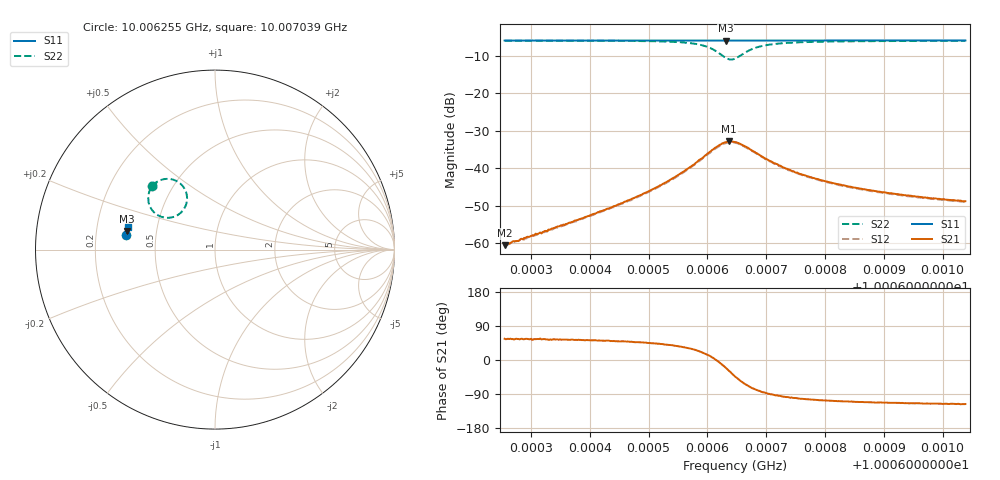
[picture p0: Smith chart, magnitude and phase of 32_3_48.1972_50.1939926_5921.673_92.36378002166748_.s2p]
#  HZ  S  RI  R  50.00
! Rohde & Schwarz Vector Network Analyzer
! Rohde-Schwarz,ZNB20-2Port,1311601062101988,3.16
! Created: UTC 3/20/2024, 11:37:31 AM
! freq[Hz]  re:S11  im:S11  re:S21  im:S21  re:S12  im:S12  re:S22  im:S22
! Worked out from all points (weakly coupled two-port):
!   401 points, 10.006255 GHz to 10.007039 GHz, reference 50 ohm
!   highest |S21| = -32.84 dB at 10.006637 GHz (marker M1); lowest = -60.5 dB at 10.006255 GHz (marker M2)
!   lowest |S11| = -6.0 dB at 10.006631 GHz (marker M3), VSWR 3.00, Z = 16.8 + j4.6 ohm
!   |S11| at or under -10 dB: nowhere
!   |S22| runs from -11.0 to -6.0 dB; largest |S21 - S12| = 0.0015
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1.00062551e10  -0.4959 0.0788  0.000527 0.000784  0.000486 0.000779  -0.3508 0.3557
1.00063864e10  -0.4947 0.0874  0.00131 0.00171  0.0012 0.00174  -0.3357 0.369
1.00064726e10  -0.4937 0.0932  0.00267 0.00293  0.00246 0.00297  -0.3164 0.3815
1.00065176e10  -0.4931 0.0961  0.00423 0.00395  0.00399 0.00406  -0.2968 0.3895
1.00065568e10  -0.4923 0.0989  0.00722 0.00496  0.00679 0.00519  -0.2648 0.3943
1.00065901e10  -0.4915 0.1011  0.0126 0.00473  0.0121 0.00529  -0.2127 0.3813
1.00066097e10  -0.4907 0.1021  0.0178 0.00176  0.0171 0.0026  -0.1713 0.342
1.00066215e10  -0.4903 0.1026  0.0204 -0.00289  0.0198 -0.00168  -0.156 0.2953
1.00066313e10  -0.4898 0.1027  0.0208 -0.00777  0.0205 -0.00653  -0.1627 0.2467
1.00066372e10  -0.4899 0.1026  0.0199 -0.0111  0.0199 -0.00973  -0.1782 0.219
1.00066469e10  -0.49 0.1026  0.0163 -0.0154  0.0167 -0.014  -0.2194 0.1867
1.00066567e10  -0.4904 0.103  0.0118 -0.0172  0.0127 -0.0163  -0.2656 0.177
1.00066705e10  -0.4907 0.1039  0.00646 -0.0172  0.0073 -0.0165  -0.3166 0.1906
1.0006694e10  -0.491 0.1055  0.00123 -0.0141  0.00193 -0.0138  -0.3583 0.2322
1.00067312e10  -0.4909 0.1081  -0.00129 -0.01  -0.000693 -0.00993  -0.3721 0.2786
1.00067547e10  -0.4906 0.1099  -0.00173 -0.00842  -0.00127 -0.00834  -0.3718 0.2964
1.00067782e10  -0.4904 0.1115  -0.00186 -0.00726  -0.00154 -0.00722  -0.3698 0.3089
1.00068213e10  -0.4898 0.1143  -0.00196 -0.00583  -0.00164 -0.00581  -0.3651 0.3246
1.00068507e10  -0.4896 0.1163  -0.00193 -0.00517  -0.00164 -0.00518  -0.3619 0.3322
1.00069095e10  -0.4889 0.12  -0.00182 -0.00429  -0.00158 -0.00429  -0.3561 0.3431
1.00069683e10  -0.488 0.1239  -0.00174 -0.0037  -0.0015 -0.00372  -0.3511 0.351
1.00070388e10  -0.487 0.1283  -0.00161 -0.00327  -0.00143 -0.00325  -0.3457 0.3584
